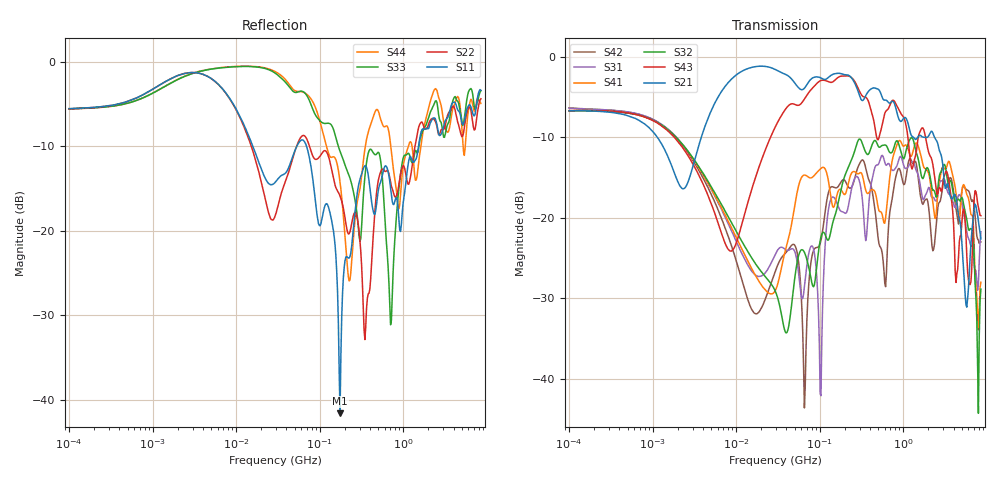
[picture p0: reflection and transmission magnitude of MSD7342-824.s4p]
# MHz S MA R 50
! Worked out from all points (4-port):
!   498 points, 100 kHz to 8.5 GHz, reference 50 ohm
!   strongest paths, dB at 100 kHz, 1.698 MHz, 29.49 MHz, 500.7 MHz, 8.5 GHz:
!     S21: -6.7, -13.6, -1.6, -4.0, -22.6
!     S43: -6.7, -9.7, -8.7, -10.3, -19.7
!     S32: -6.7, -9.5, -29.1, -11.1, -28.8
!     S41: -6.7, -9.5, -29.0, -18.7, -28.0
!     S31: -6.4, -9.4, -24.5, -13.4, -21.7
!     S42: -6.4, -9.5, -26.6, -22.5, -23.0
!   lowest |S11| = -41.6 dB at 175.1 MHz (marker M1), VSWR 1.02, Z = 50.8 - j0.283 ohm
!   |S11| at or under -10 dB: 15.81 MHz to 53.3 MHz (37.49 MHz wide, 108 % of centre); 69.46 MHz to 1.523 GHz (1.453 GHz wide, 183 % of centre)
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0.1  0.5275 7.7  0.4617 3.5  0.4791 -9.7  0.462 -177.7
     0.4617 3.5  0.5258 7.9  0.4618 -177.7  0.481 -9.8
     0.4791 -9.7  0.4618 -177.7  0.5249 7.9  0.4632 3.3
     0.462 -177.7  0.481 -9.8  0.4632 3.3  0.5246 8.0
8.591675  0.5943 -46.5  0.7178 33.9  0.08532 -125.5  0.08896 63.5
          0.7178 33.9  0.59 -49.0  0.09549 56.8  0.06936 -125.6
          0.08532 -125.5  0.09549 56.8  0.9305 -2.4  0.0623 6.7
          0.08896 63.5  0.06936 -125.6  0.0623 6.7  0.9334 -3.2
65.58595  0.3365 -48.9  0.6376 -7.7  0.03721 56.7  0.1844 54.0
          0.6376 -7.7  0.3644 -19.9  0.0611 78.9  0.006621 -126.2
          0.03721 56.7  0.0611 78.9  0.6569 -46.3  0.5458 24.7
          0.1844 54.0  0.006621 -126.2  0.5458 24.7  0.655 -54.7
175.1055  0.008289 -19.7  0.7877 -34.9  0.1115 24.9  0.1506 -1.0
          0.7877 -34.9  0.1602 -67.5  0.1407 70.2  0.1631 19.1
          0.1115 24.9  0.1407 70.2  0.2945 -77.4  0.7548 -23.3
          0.1506 -1.0  0.1631 19.1  0.7548 -23.3  0.1941 -123.6
705.2109  0.1795 -95.1  0.5191 -125.3  0.2063 -84.1  0.1958 -45.2
          0.5191 -125.3  0.193 -74.9  0.253 -85.8  0.1161 -47.5
          0.2063 -84.1  0.253 -85.8  0.02771 -99.4  0.5127 -110.4
          0.1958 -45.2  0.1161 -47.5  0.5127 -110.4  0.324 -122.4
2209.207  0.453 84.0  0.3439 27.0  0.1338 53.6  0.137 32.6
          0.3439 27.0  0.4607 79.4  0.154 37.1  0.0669 34.9
          0.1338 53.6  0.154 37.1  0.5264 88.5  0.2269 13.5
          0.137 32.6  0.0669 34.9  0.2269 13.5  0.627 82.4
8500  0.6763 -59.9  0.07408 37.0  0.08203 7.8  0.03985 -31.9
      0.07408 37.0  0.6031 -68.6  0.03613 -2.8  0.07093 -86.0
      0.08203 7.8  0.03613 -2.8  0.6729 -61.6  0.1032 49.3
      0.03985 -31.9  0.07093 -86.0  0.1032 49.3  0.5658 -78.7
